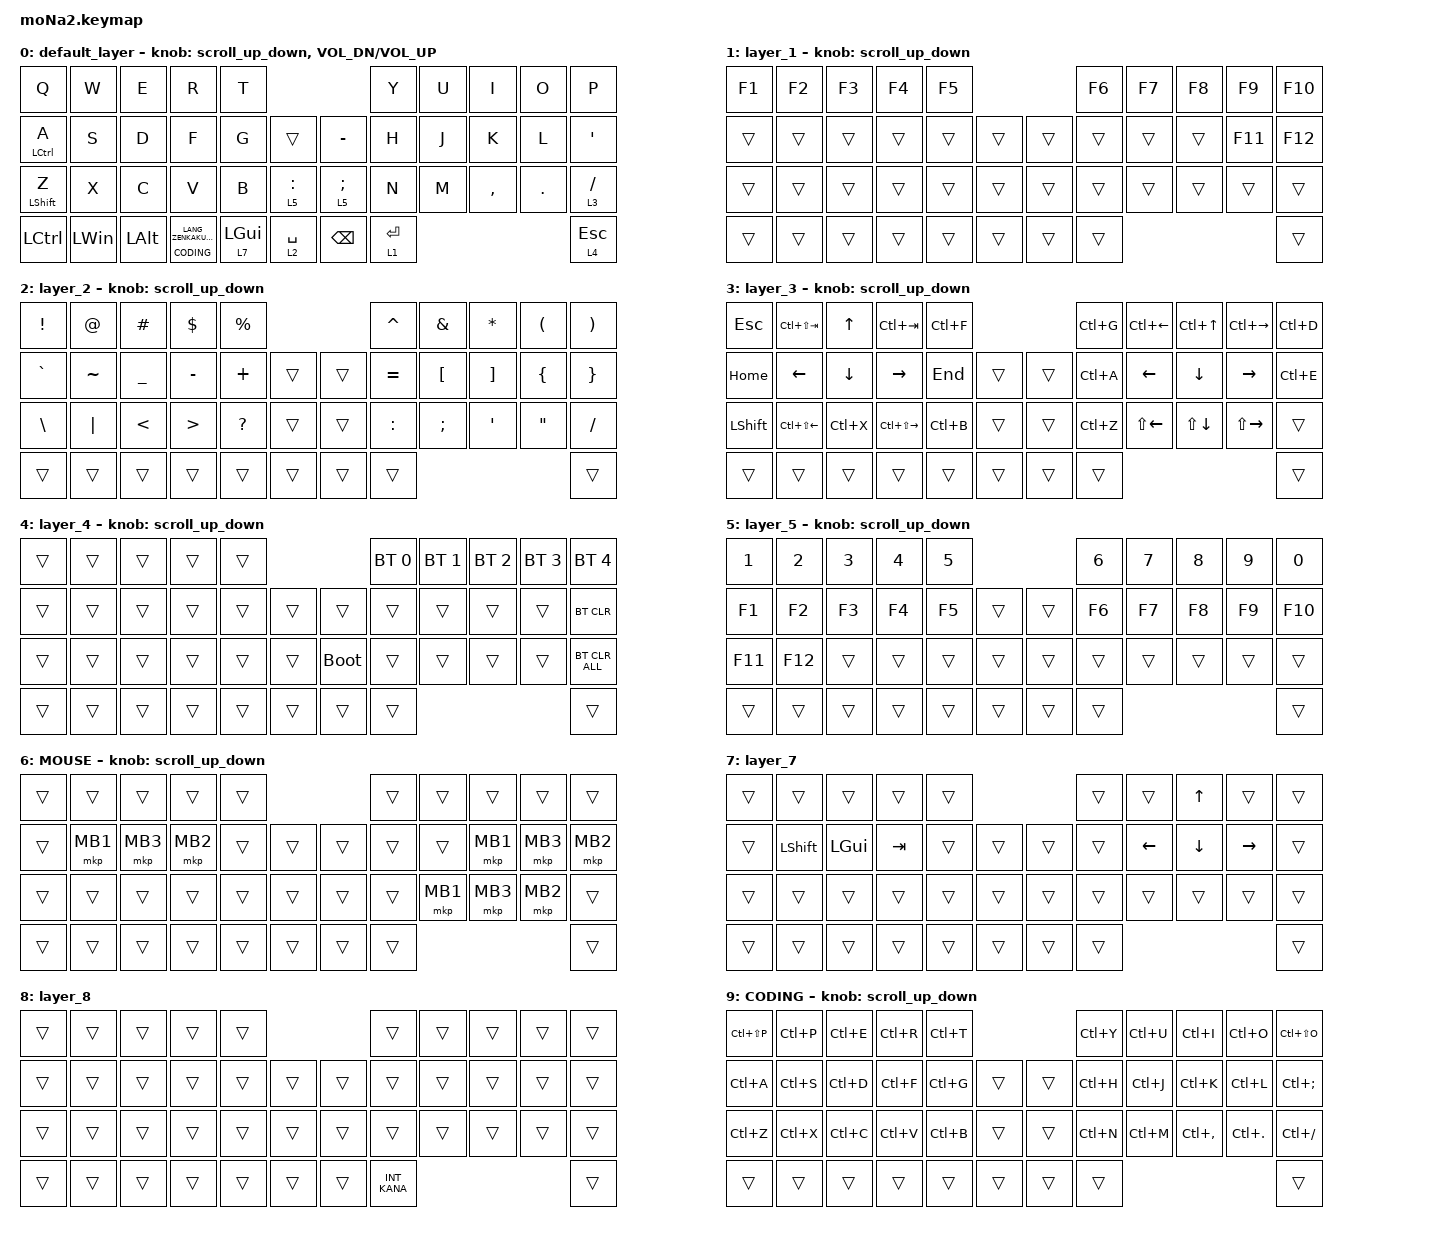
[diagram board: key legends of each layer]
#include <behaviors.dtsi>
#include <dt-bindings/zmk/bt.h>
#include <dt-bindings/zmk/keys.h>
#include <dt-bindings/zmk/pointing.h>
#include <dt-bindings/zmk/pointing.h>

#define ZMK_POINTING_DEFAULT_SCRL_VAL 100
#define MOUSE 6
#define CODING 9

&mt {
    flavor = "balanced";
    quick-tap-ms = <0>;
};

/ {
    combos {
        compatible = "zmk,combos";

        tab {
            bindings = <&kp TAB>;
            key-positions = <11 12>;
        };

        copy {
            bindings = <&kp LC(C)>;
            key-positions = <22 23>;
        };

        paste {
            bindings = <&kp LC(V)>;
            key-positions = <23 24>;
        };

        undo {
            bindings = <&kp LC(Z)>;
            key-positions = <20 21>;
        };

        save {
            bindings = <&kp LC(S)>;
            key-positions = <12 13>;
        };

        command_palette {
            bindings = <&kp LC(LS(P))>;
            key-positions = <9 19>;
        };

        terminal_toggle {
            bindings = <&kp LC(GRAVE)>;
            key-positions = <0 10>;
        };

        quick_open {
            bindings = <&kp LC(T)>;
            key-positions = <4 14>;
        };

        find_in_files {
            bindings = <&kp LC(LS(F))>;
            key-positions = <13 23>;
        };

        toggle_comment {
            bindings = <&kp LC(SLASH)>;
            key-positions = <31 41>;
        };

        bracket_pair {
            bindings = <&kp LPAR &kp RPAR &kp LEFT>;
            key-positions = <7 8>;
        };

        square_bracket_pair {
            bindings = <&kp LBKT &kp RBKT &kp LEFT>;
            key-positions = <17 18>;
        };

        curly_bracket_pair {
            bindings = <&kp LBRC &kp RBRC &kp LEFT>;
            key-positions = <27 28>;
        };

        chrome_new_tab {
            bindings = <&kp LC(T)>;
            key-positions = <4 5>;
        };

        chrome_close_tab {
            bindings = <&kp LC(W)>;
            key-positions = <1 2>;
        };

        chrome_reopen_tab {
            bindings = <&kp LC(LS(T))>;
            key-positions = <14 15>;
        };
    };

    macros {
        to_layer_0: to_layer_0 {
            compatible = "zmk,behavior-macro-one-param";
            #binding-cells = <1>;
            bindings = <&to 0 &macro_param_1to1 &kp MACRO_PLACEHOLDER>;
            label = "TO_LAYER_0";
        };
    };

    behaviors {
        lt_to_layer_0: lt_to_layer_0 {
            compatible = "zmk,behavior-hold-tap";
            label = "LAYER_TAP_TO_0";
            bindings = <&mo>, <&to_layer_0>;

            #binding-cells = <2>;
            tapping-term-ms = <200>;
        };

        scroll_up_down: behavior_sensor_rotate_mouse_wheel_up_down {
            compatible = "zmk,behavior-sensor-rotate";
            #sensor-binding-cells = <0>;
            bindings = <&msc SCRL_UP>, <&msc SCRL_DOWN>;

            tap-ms = <20>;
        };
    };

    keymap {
        compatible = "zmk,keymap";

        default_layer {
            bindings = <
&kp Q               &kp W         &kp E         &kp R                      &kp T                                           &kp Y        &kp U  &kp I      &kp O    &kp P
&mt LEFT_CONTROL A  &kp S         &kp D         &kp F                      &kp G           &trans         &kp MINUS        &kp H        &kp J  &kp K      &kp L    &kp SQT
&mt LEFT_SHIFT Z    &kp X         &kp C         &kp V                      &kp B           &lt 5 COLON    &lt 5 SEMICOLON  &kp N        &kp M  &kp COMMA  &kp DOT  &lt 3 SLASH
&kp LCTRL           &kp LEFT_WIN  &kp LEFT_ALT  &lt CODING LANG_ZENKAKUHANKAKU  &lt 7 LEFT_GUI  &lt 2 SPACE    &kp BACKSPACE    &lt 1 ENTER                             &lt 4 ESCAPE
            >;

            sensor-bindings =
                <&scroll_up_down>,
                <&inc_dec_kp C_VOL_DN C_VOL_UP>;
        };

        layer_1 {
            bindings = <
&kp F1  &kp F2  &kp F3  &kp F4  &kp F5                    &kp F6  &kp F7  &kp F8  &kp F9   &kp F10
&trans  &trans  &trans  &trans  &trans  &trans    &trans  &trans  &trans  &trans  &kp F11  &kp F12
&trans  &trans  &trans  &trans  &trans  &trans    &trans  &trans  &trans  &trans  &trans   &trans
&trans  &trans  &trans  &trans  &trans  &trans    &trans  &trans                           &trans
            >;

            sensor-bindings = <&scroll_up_down>;
        };

        layer_2 {
            bindings = <
&kp EXCL     &kp AT       &kp HASH     &kp DLLR     &kp PRCNT                                    &kp CARET  &kp AMPS   &kp ASTRK  &kp LPAR   &kp RPAR
&kp GRAVE    &kp TILDE    &kp UNDER    &kp MINUS    &kp PLUS   &trans    &trans                &kp EQUAL  &kp LBKT   &kp RBKT   &kp LBRC   &kp RBRC
&kp BSLH     &kp PIPE     &kp LT       &kp GT       &kp QMARK  &trans    &trans                &kp COLON  &kp SEMI   &kp SQT    &kp DQT    &kp SLASH
&trans       &trans       &trans       &trans       &trans     &trans    &trans                &trans                                       &trans
            >;

            sensor-bindings = <&scroll_up_down>;
        };

        layer_3 {
            bindings = <
&kp ESCAPE      &kp LC(LS(TAB))         &kp UP_ARROW    &kp LC(TAB)              &kp LC(F)                  &kp LC(G)  &kp LC(LEFT)   &kp LC(UP)     &kp LC(RIGHT)  &kp LC(D)
&kp HOME        &kp LEFT_ARROW          &kp DOWN_ARROW  &kp RIGHT_ARROW          &kp END    &trans    &trans  &kp LC(A)  &kp LEFT       &kp DOWN       &kp RIGHT      &kp LC(E)
&kp LEFT_SHIFT  &kp LC(LS(LEFT_ARROW))  &kp LC(X)       &kp LC(LS(RIGHT_ARROW))  &kp LC(B)  &trans    &trans  &kp LC(Z)  &kp LS(LEFT)   &kp LS(DOWN)   &kp LS(RIGHT)  &trans
&trans          &trans                  &trans          &trans                   &trans     &trans    &trans  &trans                                                   &trans
            >;

            sensor-bindings = <&scroll_up_down>;
        };

        layer_4 {
            bindings = <
&trans  &trans  &trans  &trans  &trans                         &bt BT_SEL 0  &bt BT_SEL 1  &bt BT_SEL 2  &bt BT_SEL 3  &bt BT_SEL 4
&trans  &trans  &trans  &trans  &trans  &trans    &trans       &trans        &trans        &trans        &trans        &bt BT_CLR
&trans  &trans  &trans  &trans  &trans  &trans    &bootloader  &trans        &trans        &trans        &trans        &bt BT_CLR_ALL
&trans  &trans  &trans  &trans  &trans  &trans    &trans       &trans                                                  &trans
            >;

            sensor-bindings = <&scroll_up_down>;
        };

        layer_5 {
            bindings = <
&kp N1     &kp N2     &kp N3     &kp N4     &kp N5                       &kp N6     &kp N7     &kp N8     &kp N9     &kp N0
&kp F1     &kp F2     &kp F3     &kp F4     &kp F5     &trans    &trans  &kp F6     &kp F7     &kp F8     &kp F9     &kp F10
&kp F11    &kp F12    &trans     &trans     &trans     &trans    &trans  &trans     &trans     &trans     &trans     &trans
&trans     &trans     &trans     &trans     &trans     &trans    &trans  &trans                                       &trans
            >;

            sensor-bindings = <&scroll_up_down>;
        };

        MOUSE {
            bindings = <
&trans  &trans    &trans    &trans    &trans                    &trans  &trans    &trans    &trans    &trans
&trans  &mkp MB1  &mkp MB3  &mkp MB2  &trans  &trans    &trans  &trans  &trans    &mkp MB1  &mkp MB3  &mkp MB2
&trans  &trans    &trans    &trans    &trans  &trans    &trans  &trans  &mkp MB1  &mkp MB3  &mkp MB2  &trans
&trans  &trans    &trans    &trans    &trans  &trans    &trans  &trans                                &trans
            >;

            sensor-bindings = <&scroll_up_down>;
        };

        layer_7 {
            bindings = <
&trans  &trans          &trans        &trans   &trans                    &trans  &trans          &kp UP_ARROW  &trans           &trans
&trans  &kp LEFT_SHIFT  &kp LEFT_GUI  &kp TAB  &trans  &trans    &trans  &trans  &kp LEFT_ARROW  &kp DOWN      &kp RIGHT_ARROW  &trans
&trans  &trans          &trans        &trans   &trans  &trans    &trans  &trans  &trans          &trans        &trans           &trans
&trans  &trans          &trans        &trans   &trans  &trans    &trans  &trans                                                 &trans
            >;
        };

        layer_8 {
            bindings = <
&trans  &trans  &trans  &trans  &trans                    &trans        &trans  &trans  &trans  &trans
&trans  &trans  &trans  &trans  &trans  &trans    &trans  &trans        &trans  &trans  &trans  &trans
&trans  &trans  &trans  &trans  &trans  &trans    &trans  &trans        &trans  &trans  &trans  &trans
&trans  &trans  &trans  &trans  &trans  &trans    &trans  &kp INT_KANA                          &trans
            >;
        };

        CODING {
            bindings = <
&kp LC(LS(P))  &kp LC(P)      &kp LC(E)      &kp LC(R)      &kp LC(T)                         &kp LC(Y)      &kp LC(U)      &kp LC(I)      &kp LC(O)      &kp LC(LS(O))
&kp LC(A)      &kp LC(S)      &kp LC(D)      &kp LC(F)      &kp LC(G)      &trans    &trans   &kp LC(H)      &kp LC(J)      &kp LC(K)      &kp LC(L)      &kp LC(SEMI)
&kp LC(Z)      &kp LC(X)      &kp LC(C)      &kp LC(V)      &kp LC(B)      &trans    &trans   &kp LC(N)      &kp LC(M)      &kp LC(COMMA)  &kp LC(DOT)    &kp LC(SLASH)
&trans         &trans         &trans         &trans         &trans         &trans    &trans   &trans                                                       &trans
            >;

            sensor-bindings = <&scroll_up_down>;
        };
    };
};
